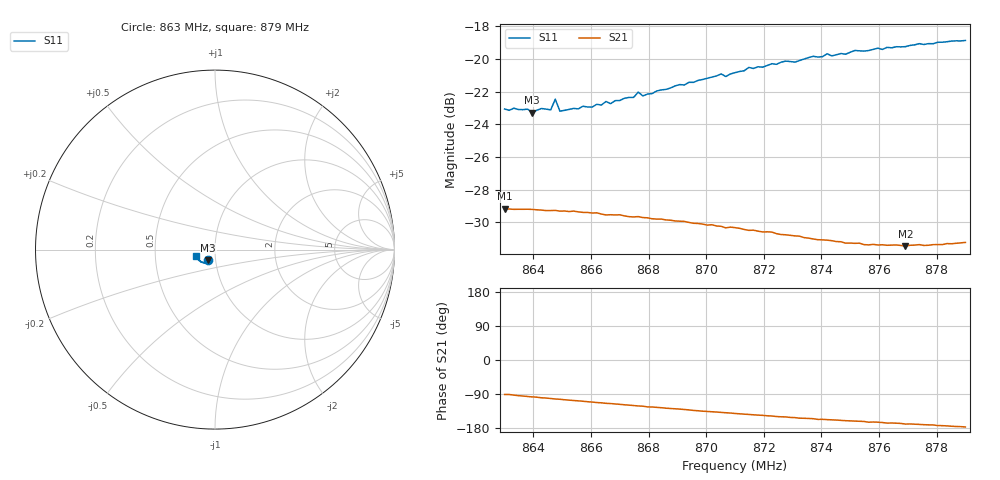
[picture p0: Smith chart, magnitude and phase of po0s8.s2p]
# HZ S RI R 50
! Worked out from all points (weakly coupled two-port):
!   101 points, 863 MHz to 879 MHz, reference 50 ohm
!   highest |S21| = -29.17 dB at 863 MHz (marker M1); lowest = -31.5 dB at 876.92 MHz (marker M2)
!   lowest |S11| = -23.3 dB at 863.96 MHz (marker M3), VSWR 1.15, Z = 46.1 - j5.31 ohm
!   |S11| at or under -10 dB: start of sweep to end of sweep
!   S12 and S22 are empty: the file has one direction only
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8.63e8  -0.0411 -0.057  -0.000556 -0.0348  0 0  0 0
8.638e8  -0.0396 -0.058  -0.00381 -0.0345  0 0  0 0
8.6396e8  -0.0375 -0.0573  -0.00447 -0.0343  0 0  0 0
8.6428e8  -0.037 -0.06  -0.00582 -0.034  0 0  0 0
8.646e8  -0.0373 -0.0591  -0.00691 -0.0336  0 0  0 0
8.6476e8  -0.0437 -0.0614  -0.00769 -0.0335  0 0  0 0
8.6492e8  -0.0358 -0.0593  -0.00806 -0.0332  0 0  0 0
8.6572e8  -0.0358 -0.0621  -0.011 -0.0321  0 0  0 0
8.6604e8  -0.0346 -0.0623  -0.0121 -0.0315  0 0  0 0
8.6652e8  -0.0358 -0.0649  -0.0137 -0.0303  0 0  0 0
8.6668e8  -0.0352 -0.0639  -0.014 -0.0302  0 0  0 0
8.6748e8  -0.0368 -0.0668  -0.0165 -0.0284  0 0  0 0
8.6764e8  -0.0399 -0.0684  -0.0171 -0.0281  0 0  0 0
8.678e8  -0.0385 -0.0668  -0.0173 -0.0278  0 0  0 0
8.6844e8  -0.0409 -0.0693  -0.0189 -0.0262  0 0  0 0
8.71e8  -0.0538 -0.0732  -0.0237 -0.0191  0 0  0 0
8.7148e8  -0.0568 -0.0752  -0.0241 -0.0177  0 0  0 0
8.7308e8  -0.0675 -0.0708  -0.0254 -0.0135  0 0  0 0
8.7372e8  -0.0728 -0.0714  -0.0255 -0.0119  0 0  0 0
8.7644e8  -0.0917 -0.0575  -0.0261 -0.00641  0 0  0 0
8.7692e8  -0.0953 -0.0531  -0.0262 -0.00506  0 0  0 0
8.79e8  -0.1081 -0.0361  -0.0274 -0.00154  0 0  0 0
